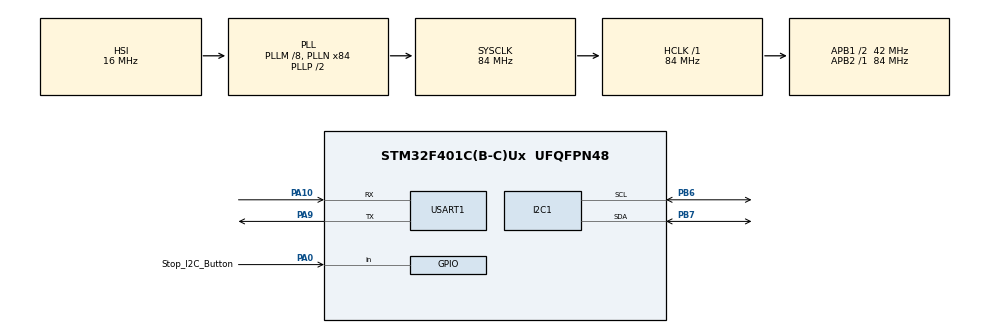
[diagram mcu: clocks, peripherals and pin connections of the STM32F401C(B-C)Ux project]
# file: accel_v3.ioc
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Mcu.Family=STM32F4
Mcu.Name=STM32F401C(B-C)Ux
Mcu.Package=UFQFPN48
NVIC.PriorityGroup=NVIC_PRIORITYGROUP_4
PA0-WKUP.GPIO_Label=Stop_I2C_Button
PA0-WKUP.GPIO_PuPd=GPIO_PULLUP
PA0-WKUP.Signal=GPIO_Input
PA10.GPIO_PuPd=GPIO_NOPULL
PA10.Mode=Asynchronous
PA10.Signal=USART1_RX
PA9.GPIO_PuPd=GPIO_NOPULL
PA9.Mode=Asynchronous
PA9.Signal=USART1_TX
PB6.GPIO_Pu=GPIO_PULLUP
PB6.Mode=I2C
PB6.Signal=I2C1_SCL
PB7.GPIO_Pu=GPIO_PULLUP
PB7.Mode=I2C
PB7.Signal=I2C1_SDA
PH0\ -\ OSC_IN.Mode=HSE-External-Oscillator
PH0\ -\ OSC_IN.Signal=RCC_OSC_IN
PH1\ -\ OSC_OUT.Mode=HSE-External-Oscillator
PH1\ -\ OSC_OUT.Signal=RCC_OSC_OUT
ProjectManager.HeapSize=0x200
ProjectManager.StackSize=0x400
ProjectManager.TargetToolchain=STM32CubeIDE
RCC.48MHZClocksFreq_Value=42000000
RCC.AHBFreq_Value=84000000
RCC.APB1CLKDivider=RCC_HCLK_DIV2
RCC.APB1Freq_Value=42000000
RCC.APB1TimFreq_Value=84000000
RCC.APB2Freq_Value=84000000
RCC.APB2TimFreq_Value=84000000
RCC.CortexFreq_Value=84000000
RCC.HCLKFreq_Value=84000000
RCC.HSE_VALUE=25000000
RCC.HSI_VALUE=16000000
RCC.LSE_VALUE=32768
RCC.PLLM=8
RCC.PLLN=84
RCC.SYSCLKFreq_VALUE=84000000
RCC.SYSCLKSource=RCC_SYSCLKSOURCE_PLLCLK
RCC.VCOOutputFreq_Value=168000000
TIM10.Prescaler=84-1
USART1.VirtualMode=VM_ASYNC
VP_TIM10_VS_ClockSourceINT.Mode=Enable_Timer
board=custom

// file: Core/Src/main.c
/* USER CODE BEGIN Header */
/**
  ******************************************************************************
  * @file           : main.c
  * @brief          : Main program body
  ******************************************************************************
  * @attention
  *
  * Copyright (c) 2024 STMicroelectronics.
  * All rights reserved.
  *
  * This software is licensed under terms that can be found in the LICENSE file
  * in the root directory of this software component.
  * If no LICENSE file comes with this software, it is provided AS-IS.
  *
  ******************************************************************************
  */
/* USER CODE END Header */
#include "main.h"

/* USER CODE BEGIN Includes */
#include "gy_521.h"
#define ARM_MATH_CM4
#include "arm_math.h"
/* USER CODE END Includes */

I2C_HandleTypeDef hi2c1;

TIM_HandleTypeDef htim10;

UART_HandleTypeDef huart1;

void SystemClock_Config(void);
static void MX_GPIO_Init(void);
static void MX_I2C1_Init(void);
static void MX_USART1_UART_Init(void);
static void MX_TIM10_Init(void);

int main(void)
{

  /* MCU Configuration--------------------------------------------------------*/

  /* Reset of all peripherals, Initializes the Flash interface and the Systick. */
  HAL_Init();

  /* Configure the system clock */
  SystemClock_Config();

  /* Initialize all configured peripherals */
  MX_GPIO_Init();
  MX_I2C1_Init();
  MX_USART1_UART_Init();
  MX_TIM10_Init();
  /* USER CODE BEGIN 2 */
  __HAL_RCC_I2C1_CLK_DISABLE();
 I2C1->CR1 |= I2C_CR1_SWRST;
 I2C1->CR1 &= ~I2C_CR1_SWRST;
 __HAL_RCC_I2C1_CLK_ENABLE();

  	while(MPU6050_Init(&hi2c1) == 1);
    MPU6050_accel_vectors_t accel_data;
    MPU6050_gyro_vectors_t gyro_data;
    float contained[500][7];
    int counter = 0;
    HAL_StatusTypeDef uart_sts = 0;
    /* My while Starts here*/
    char buffer[10];
    while(HAL_GPIO_ReadPin(Stop_I2C_Button_GPIO_Port, Stop_I2C_Button_Pin))
    {
    	MPU6050_Read_Accel(&hi2c1,&accel_data);
    	MPU6050_Read_Gyro(&hi2c1,&gyro_data);

        sprintf(buffer, "%0.5f", gyro_data.X);
    	//uint8_t tx_buff[] = {buffer,"\r\n"};
        buffer[8] = 13;
        buffer[9] = 10;
    	uart_sts = HAL_UART_Transmit(&huart1, buffer, sizeof(buffer)/sizeof(buffer[0]), 1000);
    	HAL_Delay(200);
    }
  /* USER CODE END 2 */

  /* Infinite loop */
  /* USER CODE BEGIN WHILE */
  while (1<0)
  {
	 // HAL_UART_Transmit(&huart1, tx_buff, 10, 1000);
    /* USER CODE END WHILE */

  }
}

void SystemClock_Config(void)
{
  RCC_OscInitTypeDef RCC_OscInitStruct = {0};
  RCC_ClkInitTypeDef RCC_ClkInitStruct = {0};

  /** Configure the main internal regulator output voltage
  */
  __HAL_RCC_PWR_CLK_ENABLE();
  __HAL_PWR_VOLTAGESCALING_CONFIG(PWR_REGULATOR_VOLTAGE_SCALE2);

  /** Initializes the RCC Oscillators according to the specified parameters
  * in the RCC_OscInitTypeDef structure.
  */
  RCC_OscInitStruct.OscillatorType = RCC_OSCILLATORTYPE_HSI;
  RCC_OscInitStruct.HSIState = RCC_HSI_ON;
  RCC_OscInitStruct.HSICalibrationValue = RCC_HSICALIBRATION_DEFAULT;
  RCC_OscInitStruct.PLL.PLLState = RCC_PLL_ON;
  RCC_OscInitStruct.PLL.PLLSource = RCC_PLLSOURCE_HSI;
  RCC_OscInitStruct.PLL.PLLM = 8;
  RCC_OscInitStruct.PLL.PLLN = 84;
  RCC_OscInitStruct.PLL.PLLP = RCC_PLLP_DIV2;
  RCC_OscInitStruct.PLL.PLLQ = 4;
  if (HAL_RCC_OscConfig(&RCC_OscInitStruct) != HAL_OK)
  {
    Error_Handler();
  }

  /** Initializes the CPU, AHB and APB buses clocks
  */
  RCC_ClkInitStruct.ClockType = RCC_CLOCKTYPE_HCLK|RCC_CLOCKTYPE_SYSCLK
                              |RCC_CLOCKTYPE_PCLK1|RCC_CLOCKTYPE_PCLK2;
  RCC_ClkInitStruct.SYSCLKSource = RCC_SYSCLKSOURCE_PLLCLK;
  RCC_ClkInitStruct.AHBCLKDivider = RCC_SYSCLK_DIV1;
  RCC_ClkInitStruct.APB1CLKDivider = RCC_HCLK_DIV2;
  RCC_ClkInitStruct.APB2CLKDivider = RCC_HCLK_DIV1;

  if (HAL_RCC_ClockConfig(&RCC_ClkInitStruct, FLASH_LATENCY_2) != HAL_OK)
  {
    Error_Handler();
  }
}

static void MX_I2C1_Init(void)
{

  hi2c1.Instance = I2C1;
  hi2c1.Init.ClockSpeed = 100000;
  hi2c1.Init.DutyCycle = I2C_DUTYCYCLE_2;
  hi2c1.Init.OwnAddress1 = 0;
  hi2c1.Init.AddressingMode = I2C_ADDRESSINGMODE_7BIT;
  hi2c1.Init.DualAddressMode = I2C_DUALADDRESS_DISABLE;
  hi2c1.Init.OwnAddress2 = 0;
  hi2c1.Init.GeneralCallMode = I2C_GENERALCALL_DISABLE;
  hi2c1.Init.NoStretchMode = I2C_NOSTRETCH_DISABLE;
  if (HAL_I2C_Init(&hi2c1) != HAL_OK)
  {
    Error_Handler();
  }

}

static void MX_TIM10_Init(void)
{

  htim10.Instance = TIM10;
  htim10.Init.Prescaler = 84-1;
  htim10.Init.CounterMode = TIM_COUNTERMODE_UP;
  htim10.Init.Period = 65535;
  htim10.Init.ClockDivision = TIM_CLOCKDIVISION_DIV1;
  htim10.Init.AutoReloadPreload = TIM_AUTORELOAD_PRELOAD_DISABLE;
  if (HAL_TIM_Base_Init(&htim10) != HAL_OK)
  {
    Error_Handler();
  }

}

static void MX_USART1_UART_Init(void)
{

  huart1.Instance = USART1;
  huart1.Init.BaudRate = 115200;
  huart1.Init.WordLength = UART_WORDLENGTH_8B;
  huart1.Init.StopBits = UART_STOPBITS_1;
  huart1.Init.Parity = UART_PARITY_NONE;
  huart1.Init.Mode = UART_MODE_TX_RX;
  huart1.Init.HwFlowCtl = UART_HWCONTROL_NONE;
  huart1.Init.OverSampling = UART_OVERSAMPLING_16;
  if (HAL_UART_Init(&huart1) != HAL_OK)
  {
    Error_Handler();
  }

}

static void MX_GPIO_Init(void)
{
  GPIO_InitTypeDef GPIO_InitStruct = {0};

  /* GPIO Ports Clock Enable */
  __HAL_RCC_GPIOH_CLK_ENABLE();
  __HAL_RCC_GPIOA_CLK_ENABLE();
  __HAL_RCC_GPIOB_CLK_ENABLE();

  /*Configure GPIO pin : Stop_I2C_Button_Pin */
  GPIO_InitStruct.Pin = Stop_I2C_Button_Pin;
  GPIO_InitStruct.Mode = GPIO_MODE_INPUT;
  GPIO_InitStruct.Pull = GPIO_PULLUP;
  HAL_GPIO_Init(Stop_I2C_Button_GPIO_Port, &GPIO_InitStruct);

}

void Error_Handler(void)
{
  __disable_irq();
  while (1)
  {
  }
}
